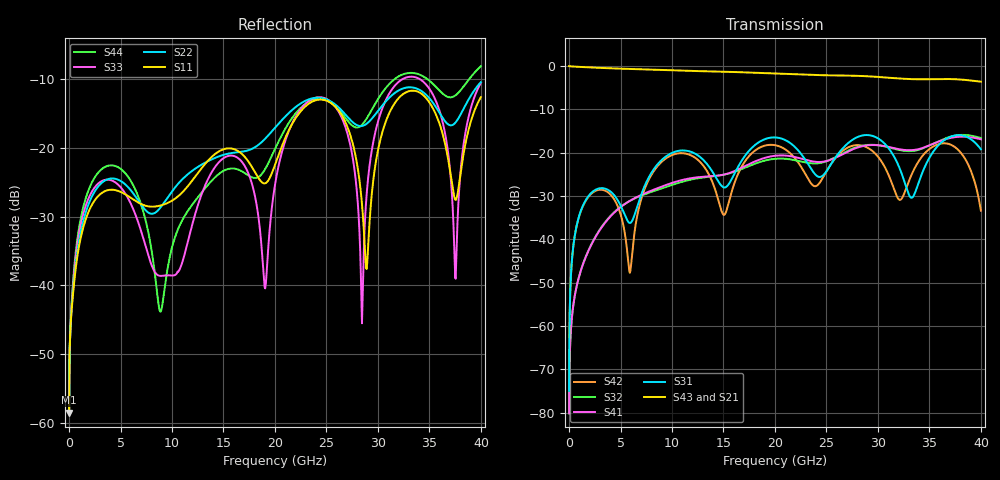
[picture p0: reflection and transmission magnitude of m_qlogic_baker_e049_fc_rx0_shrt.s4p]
! freq	real(S11)	imag(S11)	real(S12)	imag(S12)	real(S13)	imag(S13)
!  real(S14)	imag(S14)
!  real(S21)	imag(S21)	real(S22)	imag(S22)	real(S23)	imag(S23)
!  real(S24)	imag(S24)
!  real(S31)	imag(S31)	real(S32)	imag(S32)	real(S33)	imag(S33)
!  real(S34)	imag(S34)
!  real(S41)	imag(S41)	real(S42)	imag(S42)	real(S43)	imag(S43)
!  real(S44)	imag(S44)
!port1: p1  port2: p2  port3: p3  port4: p4
#  MHz  S  RI  R 50
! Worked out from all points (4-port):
!   8000 points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, 5 MHz to 40 GHz, reference 50 ohm
!   strongest paths, dB at 5 MHz, 10.01 GHz, 20 GHz, 30 GHz, 40 GHz:
!     S43: 0.0, -1.0, -1.7, -2.5, -3.6
!     S21: 0.0, -1.0, -1.7, -2.4, -3.3
!     S31: -74.9, -20.0, -16.5, -16.7, -19.2
!     S41: -80.1, -27.0, -20.7, -18.3, -16.9
!     S32: -80.1, -27.4, -21.4, -18.3, -16.6
!     S42: -74.9, -20.5, -18.3, -20.9, -33.4
!   lowest |S11| = -58.5 dB at 5 MHz (marker M1), VSWR 1.00, Z = 50.1 + j0.00479 ohm
!   |S11| at or under -10 dB: start of sweep to end of sweep
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5  0.00119 4.78e-05  0.9988 -0.00233  0.000177 2.46e-05  -9.78e-05 -1e-05
   0.9988 -0.00233  0.00119 4.7e-05  -9.78e-05 -1e-05  0.000177 2.45e-05
   0.000177 2.46e-05  -9.78e-05 -1e-05  0.00118 3.66e-05  0.9988 -0.00235
   -9.78e-05 -1e-05  0.000177 2.45e-05  0.9988 -0.00235  0.00118 3.58e-05
1530  -0.00328 -0.0287  0.7917 -0.5664  0.0154 0.0224  -0.00335 -0.00483
      0.7917 -0.5664  -0.00405 -0.032  -0.00338 -0.00488  0.0173 0.0204
      0.0154 0.0224  -0.00338 -0.00488  -0.00946 -0.0349  0.7888 -0.5695
      -0.00335 -0.00483  0.0173 0.0204  0.7888 -0.5695  -0.00825 -0.04
10145  -0.00474 0.0417  -0.5859 0.6723  0.0784 0.0643  0.0365 0.0271
       -0.5859 0.6723  0.0458 -0.0198  0.035 0.0252  0.0754 0.0586
       0.0784 0.0643  0.035 0.0252  -0.00693 0.00956  -0.5701 0.6859
       0.0365 0.0271  0.0754 0.0586  -0.5701 0.6859  0.0106 -0.0178
16000  -0.011 -0.0973  0.855 0.0107  0.0413 0.0368  0.00206 -0.061
       0.855 0.0107  0.0139 -0.0911  -0.000808 -0.06  -0.0199 0.0375
       0.0413 0.0368  -0.000808 -0.06  -0.00103 -0.0872  0.8551 -0.0219
       0.00206 -0.061  -0.0199 0.0375  0.8551 -0.0219  -0.00584 -0.0705
23435  0.1275 -0.1704  -0.7636 -0.2152  0.0525 -0.0423  -0.00326 0.0803
       -0.7636 -0.2152  -0.0566 -0.2196  -0.0073 0.0754  -0.0268 -0.0367
       0.0525 -0.0423  -0.0073 0.0754  0.0737 -0.21  -0.7742 -0.1681
       -0.00326 0.0803  -0.0268 -0.0367  -0.7742 -0.1681  -0.0115 -0.2188
28450  -0.0386 0.0061  0.0787 0.7684  0.1425 -0.0682  0.1178 -0.0155
       0.0787 0.7684  -0.0732 -0.124  0.1193 -0.0173  0.1173 0.0296
       0.1425 -0.0682  0.1193 -0.0173  -0.000312 -0.0053  0.1391 0.7563
       0.1178 -0.0155  0.1173 0.0296  0.1391 0.7563  -0.0299 -0.1438
40000  0.0433 -0.2292  -0.6861 -0.0399  -0.0499 -0.0977  0.0102 0.1426
       -0.6861 -0.0399  -0.1507 -0.2592  0.023 0.1461  0.00304 -0.0212
       -0.0499 -0.0977  0.023 0.1461  0.0615 -0.2898  -0.6607 0.02
       0.0102 0.1426  0.00304 -0.0212  -0.6607 0.02  -0.2479 -0.3036
